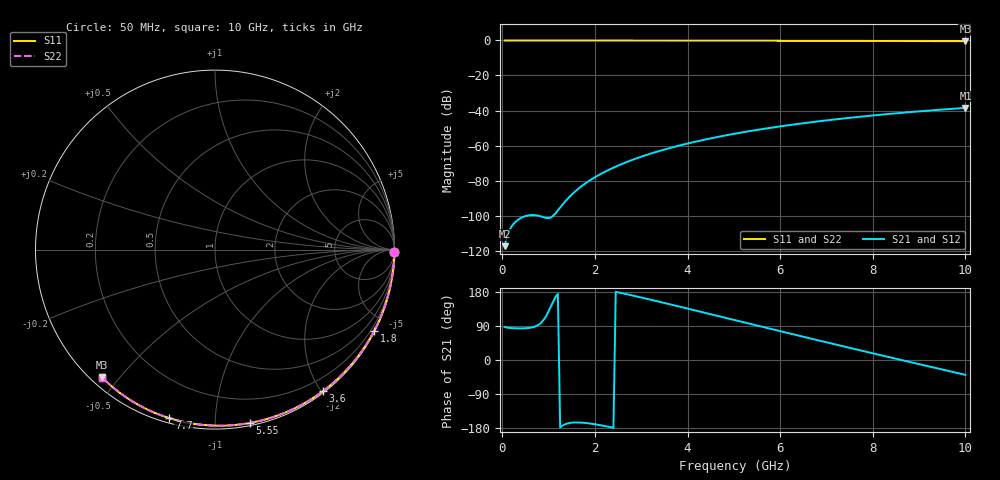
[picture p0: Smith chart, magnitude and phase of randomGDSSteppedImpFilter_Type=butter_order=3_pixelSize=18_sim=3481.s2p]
! freq	dB(S11)	phase(S11)	dB(S12)	phase(S12)
!  dB(S21)	phase(S21)	dB(S22)	phase(S22)
!S-par simulation data
#  GHz  S  DB  R 50
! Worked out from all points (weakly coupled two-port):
!   200 points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, 50 MHz to 10 GHz, reference 50 ohm
!   highest |S21| = -38.51 dB at 10 GHz (marker M1); lowest = -117.4 dB at 50 MHz (marker M2)
!   lowest |S11| = -0.4 dB at 10 GHz (marker M3), VSWR 39.12, Z = 1.54 - j22.5 ohm
!   |S11| at or under -10 dB: nowhere
!   |S22| runs from -0.4 to 0.0 dB; largest |S21 - S12| = 0
!   S11 on the Smith chart (normalised r, x): 50 MHz: open; 1.8 GHz: 0.04, -4.17; 3.6 GHz: 0.02, -2.02; 5.55 GHz: 0.02, -1.22; 7.7 GHz: 0.02, -0.77; 10 GHz: 0.03, -0.45
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0.05  -0.00 -0.8  -117.44 87.4  -117.44 87.4  -0.00 -0.8
0.9  -0.02 -13.6  -101.04 107.2  -101.04 107.2  -0.02 -13.6
1.75  -0.03 -26.2  -82.45 -165.7  -82.45 -165.7  -0.03 -26.2
1.8  -0.03 -27.0  -81.50 -166.3  -81.50 -166.3  -0.03 -26.9
1.85  -0.04 -27.7  -80.60 -167.0  -80.60 -167.0  -0.04 -27.7
1.9  -0.04 -28.4  -79.74 -167.8  -79.74 -167.8  -0.04 -28.4
2.05  -0.04 -30.6  -77.34 -170.6  -77.34 -170.6  -0.04 -30.6
2.25  -0.04 -33.5  -74.52 -175.1  -74.52 -175.1  -0.04 -33.5
2.45  -0.05 -36.4  -72.02 179.9  -72.02 179.9  -0.05 -36.4
2.65  -0.05 -39.3  -69.79 174.6  -69.79 174.6  -0.05 -39.2
3  -0.06 -44.3  -66.37 164.9  -66.37 164.9  -0.06 -44.2
3.4  -0.07 -49.9  -63.03 153.4  -63.03 153.4  -0.07 -49.9
3.6  -0.07 -52.7  -61.53 147.6  -61.53 147.6  -0.07 -52.6
4.3  -0.09 -62.3  -57.02 126.8  -57.02 126.8  -0.09 -62.2
5.05  -0.11 -72.3  -53.09 104.4  -53.09 104.4  -0.11 -72.2
5.55  -0.13 -78.7  -50.86 89.5  -50.86 89.5  -0.13 -78.6
6.1  -0.15 -85.7  -48.69 73.2  -48.69 73.2  -0.15 -85.6
6.7  -0.18 -93.1  -46.59 55.4  -46.59 55.4  -0.18 -93.0
7.7  -0.24 -105.1  -43.61 26.3  -43.61 26.3  -0.24 -105.0
8.35  -0.29 -112.7  -41.95 7.6  -41.95 7.6  -0.29 -112.6
9.15  -0.36 -121.9  -40.16 -15.2  -40.16 -15.2  -0.36 -121.7
10  -0.44 -131.6  -38.51 -39.2  -38.51 -39.2  -0.44 -131.3
